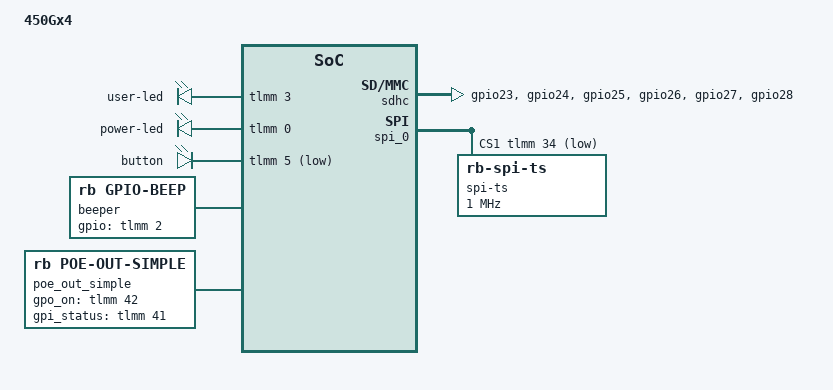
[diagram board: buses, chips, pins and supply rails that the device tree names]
/dts-v1/;
#define BIG_DK
#define NAND
#include "ipq40xx.dtsi"

/ {
	model = "450Gx4";

	leds {
		compatible = "leds-rb";
		user-led {
			gpios = <&tlmm 3 GPIO_ACTIVE_HIGH>;
		};
		power-led {
			gpios = <&tlmm 0 GPIO_ACTIVE_HIGH>;
			default-state = "keep";
		};
		button {
			gpios = <&tlmm 5 GPIO_ACTIVE_LOW>;
			default-state = "input";
		};
	};

	beeper {
		compatible = "rb,gpio-beep";
		gpios = <&tlmm 2 GPIO_ACTIVE_HIGH>;
	};

	poe_out_simple: poe-out-simple {
		compatible = "rb,poe-out-simple";
		eth_port = <4>;
		gpo_on = <&tlmm 42 GPIO_ACTIVE_HIGH>;
		gpi_status = <&tlmm 41 GPIO_ACTIVE_HIGH>;
		status = "ok";
	};
};

&tlmm {
	edma_pins: ema_pinmux {
		mux {
			pins = "gpio6", "gpio7";
			function = "mdio";
			bias-disable;
		};
	};
	sd_0_pins: sd_0_pinmux {
		sd0 {
			pins = "gpio23";
			function = "sdio";
			drive-strength = <10>;
		};
		sd1 {
			pins = "gpio24";
			function = "sdio";
			drive-strength = <10>;
		};
		sd2 {
			pins = "gpio25";
			function = "sdio";
			drive-strength = <10>;
		};
		sd3 {
			pins = "gpio26";
			function = "sdio";
			drive-strength = <10>;
		};
		sdclk {
			pins = "gpio27";
			function = "sdio";
			drive-strength = <16>;
		};
		sdcmd {
			pins = "gpio28";
			function = "sdio";
			drive-strength = <10>;
		};
	};
};

&edma {
	port_map = <0 1 2 3 4(-1)>;
	pinctrl-0 = <&edma_pins>;
	pinctrl-names = "default";
};

&sdhc {
	pinctrl-0 = <&sd_0_pins>;
	pinctrl-names = "default";
	status = "ok";
};

&tlmm {
	ts_cs_pin: ts_cs_pin_pinmux {
		mux {
			pins = "gpio34";
			function = "gpio";
			bias-disable;
			output-high;
		};
	};
};

&spi_0 {
	num-cs = <2>;
	cs-gpios = <0>, <&tlmm 34 GPIO_ACTIVE_LOW>;
	spi-ts@1 {
		pinctrl-0 = <&ts_cs_pin>;
		pinctrl-names = "default";
		#address-cells = <1>;
		#size-cells = <1>;
		compatible = "rb-spi-ts";
		spi-max-frequency = <1000000>;
		reg = <1>;
	};
};
